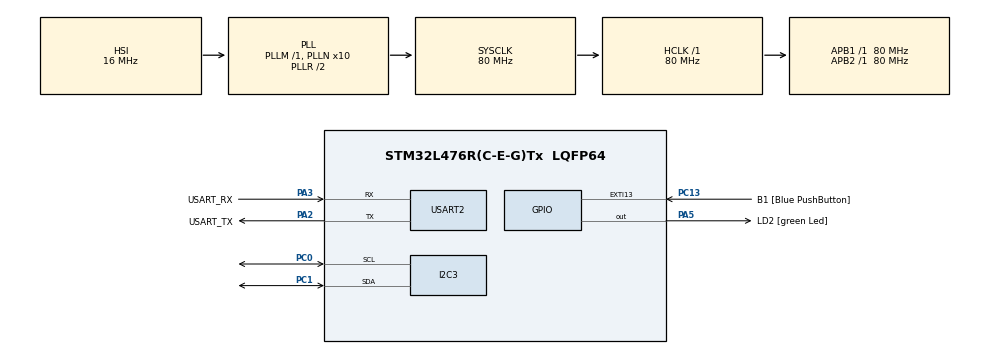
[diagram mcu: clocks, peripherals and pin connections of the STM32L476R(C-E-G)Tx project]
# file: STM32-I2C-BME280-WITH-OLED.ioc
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I2C3.Timing=0x10909CEC
Mcu.Family=STM32L4
Mcu.Name=STM32L476R(C-E-G)Tx
Mcu.Package=LQFP64
NVIC.PriorityGroup=NVIC_PRIORITYGROUP_4
NVIC.USART2_IRQn=true\:0\:0\:false\:false\:true\:true\:true\:true
PA13\ (JTMS-SWDIO).GPIO_Label=TMS
PA13\ (JTMS-SWDIO).Mode=Serial_Wire
PA13\ (JTMS-SWDIO).Signal=SYS_JTMS-SWDIO
PA14\ (JTCK-SWCLK).GPIO_Label=TCK
PA14\ (JTCK-SWCLK).Mode=Serial_Wire
PA14\ (JTCK-SWCLK).Signal=SYS_JTCK-SWCLK
PA2.GPIO_Label=USART_TX
PA2.GPIO_Mode=GPIO_MODE_AF_PP
PA2.GPIO_PuPd=GPIO_NOPULL
PA2.GPIO_Speed=GPIO_SPEED_FREQ_VERY_HIGH
PA2.Mode=Asynchronous
PA2.Signal=USART2_TX
PA3.GPIO_Label=USART_RX
PA3.GPIO_Mode=GPIO_MODE_AF_PP
PA3.GPIO_PuPd=GPIO_NOPULL
PA3.GPIO_Speed=GPIO_SPEED_FREQ_VERY_HIGH
PA3.Mode=Asynchronous
PA3.Signal=USART2_RX
PA5.GPIO_Label=LD2 [green Led]
PA5.GPIO_ModeDefaultOutputPP=GPIO_MODE_OUTPUT_PP
PA5.GPIO_PuPd=GPIO_NOPULL
PA5.GPIO_Speed=GPIO_SPEED_FREQ_LOW
PA5.Signal=GPIO_Output
PB3\ (JTDO-TRACESWO).GPIO_Label=SWO
PB3\ (JTDO-TRACESWO).Signal=SYS_JTDO-SWO
PC0.Mode=I2C
PC0.Signal=I2C3_SCL
PC1.Mode=I2C
PC1.Signal=I2C3_SDA
PC13.GPIO_Label=B1 [Blue PushButton]
PC13.GPIO_ModeDefaultEXTI=GPIO_MODE_IT_FALLING
PC13.GPIO_PuPd=GPIO_NOPULL
PC13.Signal=GPXTI13
PC14-OSC32_IN\ (PC14).Mode=LSE-External-Oscillator
PC14-OSC32_IN\ (PC14).Signal=RCC_OSC32_IN
PC15-OSC32_OUT\ (PC15).Mode=LSE-External-Oscillator
PC15-OSC32_OUT\ (PC15).Signal=RCC_OSC32_OUT
PH0-OSC_IN\ (PH0).Signal=RCC_OSC_IN
PH1-OSC_OUT\ (PH1).Signal=RCC_OSC_OUT
ProjectManager.HeapSize=0x200
ProjectManager.StackSize=0x400
ProjectManager.TargetToolchain=STM32CubeIDE
RCC.ADCFreq_Value=64000000
RCC.AHBFreq_Value=80000000
RCC.APB1Freq_Value=80000000
RCC.APB1TimFreq_Value=80000000
RCC.APB2Freq_Value=80000000
RCC.APB2TimFreq_Value=80000000
RCC.CortexFreq_Value=80000000
RCC.HCLKFreq_Value=80000000
RCC.HSE_VALUE=8000000
RCC.HSI_VALUE=16000000
RCC.MSI_VALUE=4000000
RCC.PLLN=10
RCC.PLLSourceVirtual=RCC_PLLSOURCE_HSI
RCC.PREFETCH_ENABLE=1
RCC.SYSCLKFreq_VALUE=80000000
RCC.SYSCLKSource=RCC_SYSCLKSOURCE_PLLCLK
RCC.USBFreq_Value=64000000
RCC.VCOOutputFreq_Value=160000000
USART2.VirtualMode-Asynchronous=VM_ASYNC
board=NUCLEO-L476RG

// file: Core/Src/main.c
/* USER CODE BEGIN Header */
/**
  ******************************************************************************
  * @file           : main.c
  * @brief          : Main program body
  ******************************************************************************
  * @attention
  *
  * Copyright (c) 2025 STMicroelectronics.
  * All rights reserved.
  *
  * This software is licensed under terms that can be found in the LICENSE file
  * in the root directory of this software component.
  * If no LICENSE file comes with this software, it is provided AS-IS.
  *
  ******************************************************************************
  */
/* USER CODE END Header */
#include "main.h"

/* USER CODE BEGIN Includes */
#include "i2c_bus.h"
#include "bme280.h"
#include "logger.h"
#include "oled.h"
/* USER CODE END Includes */

/* USER CODE BEGIN PD */
#define I2C_TIMEOUT 100
#define BME280_ADDR 0x76
#define OLED_ADDR 0x3C
#define MEASURE_PERIOD_MS 1000

/* USER CODE END PD */

I2C_HandleTypeDef hi2c3;

UART_HandleTypeDef huart2;

void SystemClock_Config(void);
static void MX_GPIO_Init(void);
static void MX_USART2_UART_Init(void);
static void MX_I2C3_Init(void);

/* USER CODE BEGIN 0 */

//HAL_Delay() wrapper for use in bme280 init and register config functions
static void delay_ms(uint32_t ms)
{
	HAL_Delay(ms);
}
/* USER CODE END 0 */

int main(void)
{

  /* MCU Configuration--------------------------------------------------------*/

  /* Reset of all peripherals, Initializes the Flash interface and the Systick. */
  HAL_Init();

  /* Configure the system clock */
  SystemClock_Config();

  /* Initialize all configured peripherals */
  MX_GPIO_Init();
  MX_USART2_UART_Init();
  MX_I2C3_Init();
  /* USER CODE BEGIN 2 */
  struct i2c_bus bus = {&hi2c3, I2C_TIMEOUT};
  struct oled dev = {OLED_ADDR, &bus};
  struct bme280 sensor = {BME280_ADDR, &bus};
  struct bme280_compensation_params params;
  struct bme280_results results;

  const uint8_t ctrl_hum = 0b00000001; //oversampling x1
  const uint8_t ctrl_meas = 0b00100111; //temperature and pressure oversampling x1, normal mode
  const uint8_t config = 0b10000000; //masurement every 500ms, filter off, no spi

  uint32_t last_tick = 0;

  HAL_StatusTypeDef bme280_status;
  HAL_StatusTypeDef oled_status;

  cli_init(&huart2);
  cli_sendln("Initialization");

  bme280_init(&sensor, delay_ms, &bme280_status);
  oled_init(&dev, &oled_status);

  if ((bme280_status == HAL_OK) && (oled_status == HAL_OK))
  {
	  cli_sendln("Devices ready for communication");
  }
  else
  {
	  cli_sendln("Error!!! Devices not ready for communication");
  }

  bme280_configure_ctrl_registers(&sensor, delay_ms, ctrl_hum, ctrl_meas, config);
  bme280_get_compensation_params(&sensor, &params);
  /* USER CODE END 2 */

  /* Infinite loop */
  while (1)
  {

    /* USER CODE BEGIN 3 */
	  uint32_t tick = HAL_GetTick();
	  if ((tick - last_tick) >= MEASURE_PERIOD_MS)
	  {
		  last_tick = tick;
		  bme280_get_measurments(&sensor, &params, &results);

		  char result_string[22] = {0};
		  bme280_results_to_string(&results, result_string, sizeof(result_string));

		  cli_sendln(result_string);
		  oled_send_text(&dev, result_string, (sizeof(result_string) - 1));
	  }
  }
  /* USER CODE END 3 */
}

void SystemClock_Config(void)
{
  RCC_OscInitTypeDef RCC_OscInitStruct = {0};
  RCC_ClkInitTypeDef RCC_ClkInitStruct = {0};

  /** Configure the main internal regulator output voltage
  */
  if (HAL_PWREx_ControlVoltageScaling(PWR_REGULATOR_VOLTAGE_SCALE1) != HAL_OK)
  {
    Error_Handler();
  }

  /** Initializes the RCC Oscillators according to the specified parameters
  * in the RCC_OscInitTypeDef structure.
  */
  RCC_OscInitStruct.OscillatorType = RCC_OSCILLATORTYPE_HSI;
  RCC_OscInitStruct.HSIState = RCC_HSI_ON;
  RCC_OscInitStruct.HSICalibrationValue = RCC_HSICALIBRATION_DEFAULT;
  RCC_OscInitStruct.PLL.PLLState = RCC_PLL_ON;
  RCC_OscInitStruct.PLL.PLLSource = RCC_PLLSOURCE_HSI;
  RCC_OscInitStruct.PLL.PLLM = 1;
  RCC_OscInitStruct.PLL.PLLN = 10;
  RCC_OscInitStruct.PLL.PLLP = RCC_PLLP_DIV7;
  RCC_OscInitStruct.PLL.PLLQ = RCC_PLLQ_DIV2;
  RCC_OscInitStruct.PLL.PLLR = RCC_PLLR_DIV2;
  if (HAL_RCC_OscConfig(&RCC_OscInitStruct) != HAL_OK)
  {
    Error_Handler();
  }

  /** Initializes the CPU, AHB and APB buses clocks
  */
  RCC_ClkInitStruct.ClockType = RCC_CLOCKTYPE_HCLK|RCC_CLOCKTYPE_SYSCLK
                              |RCC_CLOCKTYPE_PCLK1|RCC_CLOCKTYPE_PCLK2;
  RCC_ClkInitStruct.SYSCLKSource = RCC_SYSCLKSOURCE_PLLCLK;
  RCC_ClkInitStruct.AHBCLKDivider = RCC_SYSCLK_DIV1;
  RCC_ClkInitStruct.APB1CLKDivider = RCC_HCLK_DIV1;
  RCC_ClkInitStruct.APB2CLKDivider = RCC_HCLK_DIV1;

  if (HAL_RCC_ClockConfig(&RCC_ClkInitStruct, FLASH_LATENCY_4) != HAL_OK)
  {
    Error_Handler();
  }
}

static void MX_I2C3_Init(void)
{

  hi2c3.Instance = I2C3;
  hi2c3.Init.Timing = 0x10909CEC;
  hi2c3.Init.OwnAddress1 = 0;
  hi2c3.Init.AddressingMode = I2C_ADDRESSINGMODE_7BIT;
  hi2c3.Init.DualAddressMode = I2C_DUALADDRESS_DISABLE;
  hi2c3.Init.OwnAddress2 = 0;
  hi2c3.Init.OwnAddress2Masks = I2C_OA2_NOMASK;
  hi2c3.Init.GeneralCallMode = I2C_GENERALCALL_DISABLE;
  hi2c3.Init.NoStretchMode = I2C_NOSTRETCH_DISABLE;
  if (HAL_I2C_Init(&hi2c3) != HAL_OK)
  {
    Error_Handler();
  }

  /** Configure Analogue filter
  */
  if (HAL_I2CEx_ConfigAnalogFilter(&hi2c3, I2C_ANALOGFILTER_ENABLE) != HAL_OK)
  {
    Error_Handler();
  }

  /** Configure Digital filter
  */
  if (HAL_I2CEx_ConfigDigitalFilter(&hi2c3, 0) != HAL_OK)
  {
    Error_Handler();
  }

}

static void MX_USART2_UART_Init(void)
{

  huart2.Instance = USART2;
  huart2.Init.BaudRate = 115200;
  huart2.Init.WordLength = UART_WORDLENGTH_8B;
  huart2.Init.StopBits = UART_STOPBITS_1;
  huart2.Init.Parity = UART_PARITY_NONE;
  huart2.Init.Mode = UART_MODE_TX_RX;
  huart2.Init.HwFlowCtl = UART_HWCONTROL_NONE;
  huart2.Init.OverSampling = UART_OVERSAMPLING_16;
  huart2.Init.OneBitSampling = UART_ONE_BIT_SAMPLE_DISABLE;
  huart2.AdvancedInit.AdvFeatureInit = UART_ADVFEATURE_NO_INIT;
  if (HAL_UART_Init(&huart2) != HAL_OK)
  {
    Error_Handler();
  }

}

static void MX_GPIO_Init(void)
{
  GPIO_InitTypeDef GPIO_InitStruct = {0};

  /* GPIO Ports Clock Enable */
  __HAL_RCC_GPIOC_CLK_ENABLE();
  __HAL_RCC_GPIOH_CLK_ENABLE();
  __HAL_RCC_GPIOA_CLK_ENABLE();
  __HAL_RCC_GPIOB_CLK_ENABLE();

  /*Configure GPIO pin Output Level */
  HAL_GPIO_WritePin(LD2_GPIO_Port, LD2_Pin, GPIO_PIN_RESET);

  /*Configure GPIO pin : B1_Pin */
  GPIO_InitStruct.Pin = B1_Pin;
  GPIO_InitStruct.Mode = GPIO_MODE_IT_FALLING;
  GPIO_InitStruct.Pull = GPIO_NOPULL;
  HAL_GPIO_Init(B1_GPIO_Port, &GPIO_InitStruct);

  /*Configure GPIO pin : LD2_Pin */
  GPIO_InitStruct.Pin = LD2_Pin;
  GPIO_InitStruct.Mode = GPIO_MODE_OUTPUT_PP;
  GPIO_InitStruct.Pull = GPIO_NOPULL;
  GPIO_InitStruct.Speed = GPIO_SPEED_FREQ_LOW;
  HAL_GPIO_Init(LD2_GPIO_Port, &GPIO_InitStruct);

}

void Error_Handler(void)
{
  __disable_irq();
  while (1)
  {
  }
}
